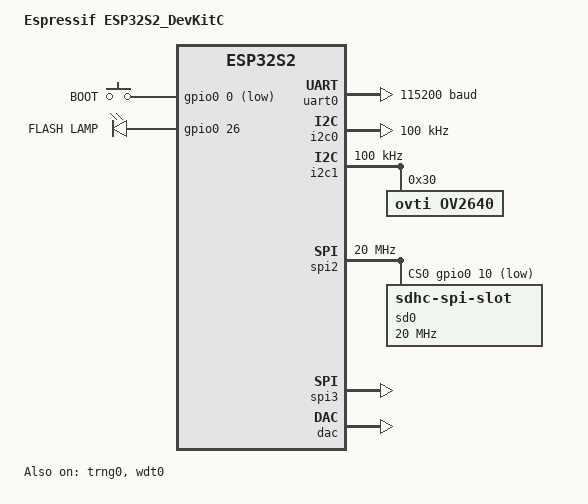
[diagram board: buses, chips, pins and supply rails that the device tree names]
/*
 * Copyright (c) 2024 Espressif Systems (Shanghai) Co., Ltd.
 *
 * SPDX-License-Identifier: Apache-2.0
 */

/dts-v1/;

#include <espressif/esp32s2/esp32s2_solo_n4r2.dtsi>
#include "esp32s2_cam-pinctrl.dtsi"
#include <zephyr/dt-bindings/input/input-event-codes.h>
#include <zephyr/dt-bindings/input/esp32-touch-sensor-input.h>
#include <espressif/partitions_0x1000_default.dtsi>

/ {
	model = "Espressif ESP32S2_DevKitC";
	compatible = "espressif,esp32s2";

	aliases {
		sw0 = &user_button;
		i2c-0 = &i2c0;
		watchdog0 = &wdt0;
	};

	chosen {
		zephyr,sram = &sram0;
		zephyr,console = &uart0;
		zephyr,shell-uart = &uart0;
		zephyr,flash = &flash0;
		zephyr,code-partition = &slot0_partition;
                zephyr,camera = &i2c1;
	};

	gpio_keys {
		compatible = "gpio-keys";
		user_button: user_button {
			label = "BOOT";
			gpios = <&gpio0 0 (GPIO_PULL_UP | GPIO_ACTIVE_LOW)>;
			zephyr,code = <INPUT_KEY_0>;
		};
	};

	leds {
		status = "okay";
		compatible = "gpio-leds";
		flash_led: led_0 {
			gpios = <&gpio0 26 GPIO_ACTIVE_HIGH>;
			label = "FLASH LAMP";
		};
	};
};

&uart0 {
	status = "okay";
	current-speed = <115200>;
	pinctrl-0 = <&uart0_default>;
	pinctrl-names = "default";
};

&gpio0 {
	status = "okay";
};

&gpio1 {
	status = "okay";
};

&touch {
	debounce-interval-ms = <30>;
	href-microvolt = <2700000>;
	lref-microvolt = <500000>;
	href-atten-microvolt = <1000000>;
	filter-mode = <ESP32_TOUCH_FILTER_MODE_IIR_16>;
	filter-debounce-cnt = <1>;
	filter-noise-thr = <ESP32_TOUCH_FILTER_NOISE_THR_4_8TH>;
	filter-jitter-step = <4>;
	filter-smooth-level = <ESP32_TOUCH_FILTER_SMOOTH_MODE_IIR_2>;
};

&timer0 {
	status = "disabled";
};

&timer1 {
	status = "disabled";
};

&timer2 {
	status = "disabled";
};

&timer3 {
	status = "disabled";
};

&i2c0 {
	status = "okay";
	clock-frequency = <I2C_BITRATE_STANDARD>;
	pinctrl-0 = <&i2c0_default>;
	pinctrl-names = "default";
};

&i2c1 {
        status = "okay";
	clock-frequency = <I2C_BITRATE_STANDARD>;
	pinctrl-0 = <&i2c1_default>;
	pinctrl-names = "default";

        ov2640: ov2640@30 {
                compatible = "ovti,ov2640";
                reg = <0x30>;
                status = "okay";
                clock-rate-control = <0x80>;
        };
};

&trng0 {
	status = "okay";
};

&spi2 {
	#address-cells = <1>;
	#size-cells = <0>;
	status = "okay";
	pinctrl-0 = <&spim2_default>;
	pinctrl-names = "default";
        clock-frequency = <20000000>;
        cs-gpios = <&gpio0 10 GPIO_ACTIVE_LOW>;
        sd0: sd@0 {
             compatible = "zephyr,sdhc-spi-slot";
             reg = <0>;
             status = "okay";
             spi-max-frequency = <20000000>;
             mmc {
                 compatible = "zephyr,sdmmc-disk";
                 disk-name = "SD";
                 status = "okay";
             };
        };
};

&spi3 {
	#address-cells = <1>;
	#size-cells = <0>;
	status = "okay";
	pinctrl-0 = <&spim3_default>;
	pinctrl-names = "default";
};

&wdt0 {
	status = "okay";
};

&dac {
	status = "okay";
};
